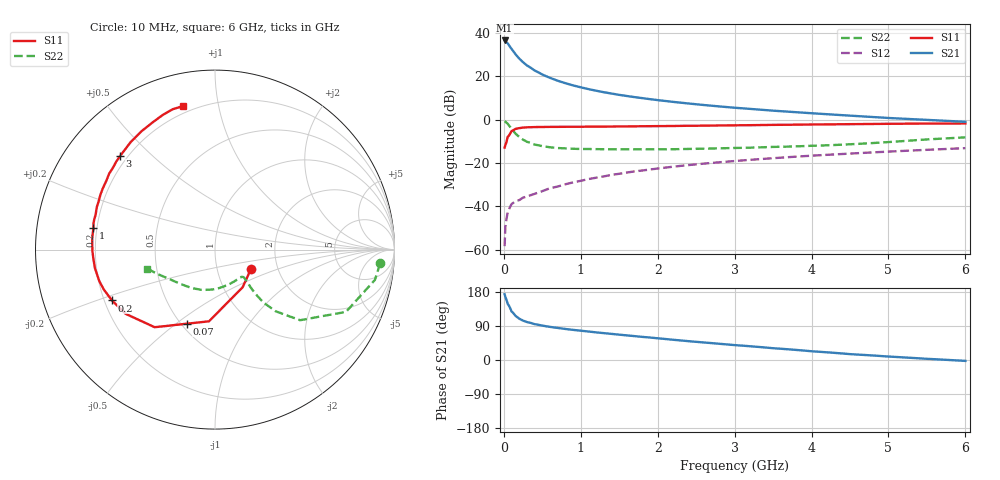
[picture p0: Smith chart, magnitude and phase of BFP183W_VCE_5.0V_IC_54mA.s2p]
! Infineon Technologies  Discrete & RF Semiconductors
! BFP183W
! VCE =  5.0 V,  IC =  54 mA
! Common Emitter S-Parameters:  Jan 2017
# GHz  S  MA  R  50
!  f  S11  S21  S12  S22
! GHz  MAG  ANG  MAG  ANG  MAG  ANG  MAG  ANG
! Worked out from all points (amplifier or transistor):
!   77 points, 10 MHz to 6 GHz, reference 50 ohm
!   highest |S21| = 36.6 dB at 10 MHz (marker M1)
!   |S21| within 3 dB of that: start of sweep to 81.92 MHz
!   unconditionally stable (mu >= 1): 579.2 MHz to 3.413 GHz
!   at 130 MHz: K = 0.44, MSG = 34.8 dB, |S12| = -38.2 dB
!   at 2.2 GHz: K = 1.09, MAG = 13.1 dB, |S12| = -21.7 dB
!   at 6 GHz: K = 0.86, MSG = 6.1 dB, |S12| = -13.1 dB
!   S11 on the Smith chart (normalised r, x): 10 MHz: 1.46, -0.33; 70 MHz: 0.54, -0.55; 200 MHz: 0.23, -0.22; 1 GHz: 0.19, +0.08; 3 GHz: 0.17, +0.40; 6 GHz: 0.16, +0.79
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0.01  0.2275 -27.6  67.81 173.6  0.0012 84.1  0.9231 -4.8
0.02  0.2603 -53.7  66.54 166.3  0.0034 87.6  0.907 -10.7
0.05  0.401 -94.8  58.26 148.5  0.0072 62.1  0.8083 -25.4
0.07  0.4408 -110.6  51.57 141.8  0.0088 59.1  0.7263 -30.2
0.1  0.5479 -127.9  43.35 128.2  0.0112 56.2  0.616 -39.7
0.15  0.6131 -144.3  32.8 116.7  0.0131 51.0  0.4813 -45.5
0.2  0.64 -153.7  25.9 109.1  0.0139 51.5  0.4002 -47.5
0.25  0.6582 -160.2  21.3 103.9  0.0159 50.1  0.3464 -47.6
0.3  0.6682 -164.8  17.99 100.2  0.0168 51.9  0.31 -47.2
0.4  0.6772 -171.3  13.75 94.6  0.0194 55.5  0.2677 -45.8
0.5  0.6798 -176.0  11.07 90.7  0.0224 59.0  0.245 -44.8
0.6  0.6834 -179.6  9.275 87.4  0.0262 60.9  0.231 -44.2
0.7  0.6844 177.5  7.964 84.6  0.0286 64.7  0.222 -43.9
1  0.6878 170.1  5.608 77.3  0.0388 66.7  0.2109 -46.2
1.1  0.6924 167.9  5.102 75.2  0.0426 67.9  0.2108 -47.5
1.5  0.6999 160.1  3.756 66.9  0.0564 67.6  0.2071 -54.0
2.1  0.7142 149.3  2.71 55.4  0.0784 66.4  0.208 -68.2
3  0.7426 135.4  1.893 39.3  0.1111 61.6  0.2227 -93.5
3.1  0.7453 134.0  1.836 37.9  0.1147 61.0  0.2242 -96.3
4.1  0.7786 120.5  1.377 21.7  0.1511 54.6  0.253 -123.8
5.1  0.807 110.2  1.076 8.0  0.1871 47.5  0.3131 -150.0
6  0.8195 102.4  0.895 -2.4  0.2207 40.7  0.3918 -164.4
